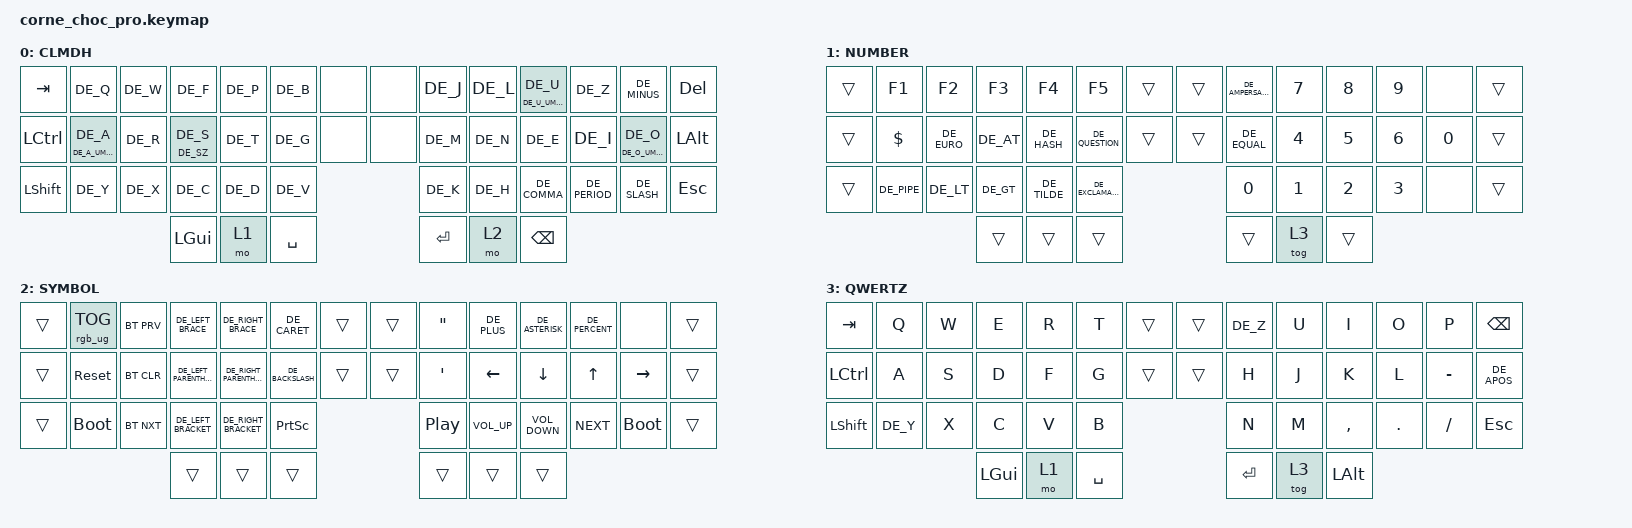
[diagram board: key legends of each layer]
/*
 * Copyright (c) 2020 The ZMK Contributors
 *
 * SPDX-License-Identifier: MIT
 */

#include <behaviors.dtsi>
#include <dt-bindings/zmk/bt.h>
#include <dt-bindings/zmk/keys.h>
#include <dt-bindings/zmk/rgb.h>
#include "keys_de.h"

/ {
    chosen { zmk,physical-layout = &default_layout; };
};

/ {
    keymap {
        compatible = "zmk,keymap";

        CLMDH {
            bindings = <
&kp TAB    &kp DE_Q              &kp DE_W  &kp DE_F        &kp DE_P  &kp DE_B   &none  &none  &kp DE_J  &kp DE_L  &mt DE_U_UMLAUT DE_U  &kp DE_Z       &kp DE_MINUS          &kp DELETE
&kp LCTRL  &mt DE_A_UMLAUT DE_A  &kp DE_R  &mt DE_SZ DE_S  &kp DE_T  &kp DE_G   &none  &none  &kp DE_M  &kp DE_N  &kp DE_E              &kp DE_I       &mt DE_O_UMLAUT DE_O  &kp LEFT_ALT
&kp LSHFT  &kp DE_Y              &kp DE_X  &kp DE_C        &kp DE_D  &kp DE_V                 &kp DE_K  &kp DE_H  &kp DE_COMMA          &kp DE_PERIOD  &kp DE_SLASH          &kp ESC
                                           &kp LGUI        &mo 1     &kp SPACE                &kp RET   &mo 2     &kp BACKSPACE
            >;

            label = "CLMDH";
        };

        NUMBER {
            bindings = <
&trans  &kp F1       &kp F2       &kp F3     &kp F4        &kp F5              &trans  &trans  &kp DE_AMPERSAND  &kp N7  &kp N8  &kp N9  &none   &trans
&trans  &kp DOLLAR   &kp DE_EURO  &kp DE_AT  &kp DE_HASH   &kp DE_QUESTION     &trans  &trans  &kp DE_EQUAL      &kp N4  &kp N5  &kp N6  &kp N0  &trans
&trans  &kp DE_PIPE  &kp DE_LT    &kp DE_GT  &kp DE_TILDE  &kp DE_EXCLAMATION                  &kp N0            &kp N1  &kp N2  &kp N3  &none   &trans
                                  &trans     &trans        &trans                              &trans            &tog 3  &trans
            >;

            label = "NUMBER";
        };

        SYMBOL {
            bindings = <
&trans  &rgb_ug RGB_TOG  &bt BT_PRV  &kp DE_LEFT_BRACE        &kp DE_RIGHT_BRACE        &kp DE_CARET      &trans  &trans  &kp DOUBLE_QUOTES  &kp DE_PLUS      &kp DE_ASTERISK    &kp DE_PERCENT  &none        &trans
&trans  &sys_reset       &bt BT_CLR  &kp DE_LEFT_PARENTHESIS  &kp DE_RIGHT_PARENTHESIS  &kp DE_BACKSLASH  &trans  &trans  &kp APOS           &kp LEFT         &kp DOWN           &kp UP          &kp RIGHT    &trans
&trans  &bootloader      &bt BT_NXT  &kp DE_LEFT_BRACKET      &kp DE_RIGHT_BRACKET      &kp PRINTSCREEN                   &kp C_PLAY_PAUSE   &kp C_VOLUME_UP  &kp C_VOLUME_DOWN  &kp C_NEXT      &bootloader  &trans
                                     &trans                   &trans                    &trans                            &trans             &trans           &trans
            >;

            label = "SYMBOL";
        };

        QWERTZ {
            bindings = <
&kp TAB    &kp Q     &kp W  &kp E     &kp R  &kp T      &trans  &trans  &kp DE_Z  &kp U   &kp I      &kp O    &kp P      &kp BSPC
&kp LCTRL  &kp A     &kp S  &kp D     &kp F  &kp G      &trans  &trans  &kp H     &kp J   &kp K      &kp L    &kp MINUS  &kp DE_APOS
&kp LSHFT  &kp DE_Y  &kp X  &kp C     &kp V  &kp B                      &kp N     &kp M   &kp COMMA  &kp DOT  &kp FSLH   &kp ESC
                            &kp LGUI  &mo 1  &kp SPACE                  &kp RET   &tog 3  &kp LALT
            >;

            label = "QWERTZ";
        };
    };
};
